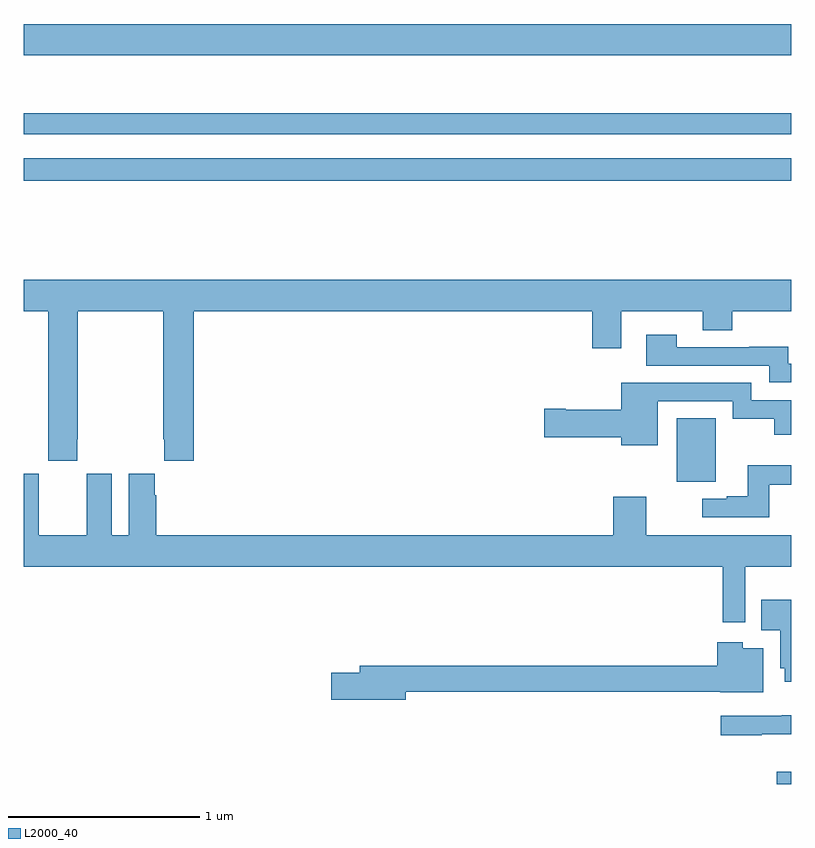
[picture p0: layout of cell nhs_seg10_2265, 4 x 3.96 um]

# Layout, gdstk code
import gdstk
lib = gdstk.Library(unit=1e-6, precision=1e-09)
def R(c, l, rs):  # rectangles x0, y0, x1, y1
    for r in rs: c.add(gdstk.rectangle(r[:2], r[2:], *l))
def P(c, l, *ps):  # polygons
    for p in ps: c.add(gdstk.Polygon(p, *l))
L2000_40 = (2000, 40)

nhs_seg10_2265 = lib.new_cell('nhs_seg10_2265')
R(nhs_seg10_2265, L2000_40, [(234.923,1316.5,235,1316.563), (234.404,1318.076,234.607,1318.405), (231,1319.644,235,1319.76), (231,1319.886,235,1319.995), (231,1320.296,235,1320.46)])
P(nhs_seg10_2265, L2000_40, [(231.279,1318.297),(231.282,1318.297),(231.282,1318.964),(231.727,1318.964),(231.727,1318.297),(231.733,1318.297),(231.733,1318.185),(231.887,1318.185),(231.887,1318.964),(233.963,1318.964),(233.963,1318.77),(234.115,1318.77),(234.115,1318.964),(234.538,1318.964),(234.538,1318.865),(234.693,1318.865),(234.693,1318.964),(235,1318.964),(235,1319.128),(231,1319.128),(231,1318.964),(231.127,1318.964),(231.127,1318.297),(231.129,1318.297),(231.129,1318.185),(231.279,1318.185)],
  [(235,1318.689),(234.985,1318.689),(234.985,1318.778),(234.781,1318.778),(234.781,1318.776),(234.404,1318.776),(234.404,1318.84),(234.243,1318.84),(234.243,1318.68),(234.884,1318.68),(234.884,1318.593),(235,1318.593)],
  [(234.304,1318.494),(234.696,1318.494),(234.696,1318.402),(234.91,1318.402),(234.91,1318.32),(235,1318.32),(235,1318.5),(234.792,1318.5),(234.792,1318.59),(234.113,1318.59),(234.113,1318.449),(233.824,1318.449),(233.824,1318.454),(233.712,1318.454),(233.712,1318.307),(234.113,1318.307),(234.113,1318.265),(234.304,1318.265)],
  [(234.886,1318.058),(235,1318.058),(235,1318.162),(234.773,1318.162),(234.773,1318),(234.663,1318),(234.663,1317.987),(234.537,1317.987),(234.537,1317.891),(234.886,1317.891)],
  [(234.759,1317.632),(235,1317.632),(235,1317.796),(234.243,1317.796),(234.243,1317.997),(234.071,1317.997),(234.071,1317.796),(231.692,1317.796),(231.692,1318.004),(231.682,1318.004),(231.682,1318.117),(231.548,1318.117),(231.548,1317.796),(231.46,1317.796),(231.46,1318.117),(231.33,1318.117),(231.33,1318.004),(231.329,1318.004),(231.329,1317.796),(231.079,1317.796),(231.079,1318.004),(231.078,1318.004),(231.078,1318.117),(231,1318.117),(231,1317.632),(234.643,1317.632),(234.643,1317.342),(234.759,1317.342)],
  [(235,1317.46),(234.844,1317.46),(234.844,1317.302),(234.941,1317.302),(234.941,1317.102),(234.965,1317.102),(234.965,1317.032),(235,1317.032)],
  [(232.99,1316.98),(234.63,1316.98),(234.63,1316.978),(234.853,1316.978),(234.853,1317.208),(234.748,1317.208),(234.748,1317.238),(234.614,1317.238),(234.614,1317.116),(232.751,1317.116),(232.751,1317.08),(232.602,1317.08),(232.602,1316.938),(232.99,1316.938)],
  [(234.845,1316.759),(235,1316.759),(235,1316.857),(234.949,1316.857),(234.949,1316.856),(234.633,1316.856),(234.633,1316.755),(234.845,1316.755)])

lib.write_gds('nhs_seg10_2265.gds')
